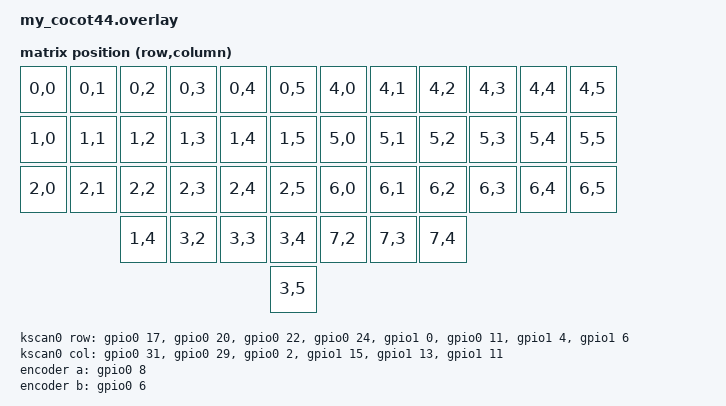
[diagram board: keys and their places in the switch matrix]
#include <dt-bindings/zmk/matrix_transform.h>

/ {
    chosen {
        zmk,kscan = &kscan0;
        zmk,matrix_transform = &default_transform;
    };

    default_transform: key_transform {
        compatible = "zmk,matrix-transform";
        columns = <6>;
        rows = <8>;
        map = <
            RC(0,0) RC(0,1) RC(0,2) RC(0,3) RC(0,4) RC(0,5)    RC(4,0) RC(4,1) RC(4,2) RC(4,3) RC(4,4) RC(4,5)
            RC(1,0) RC(1,1) RC(1,2) RC(1,3) RC(1,4) RC(1,5)    RC(5,0) RC(5,1) RC(5,2) RC(5,3) RC(5,4) RC(5,5)
            RC(2,0) RC(2,1) RC(2,2) RC(2,3) RC(2,4) RC(2,5)    RC(6,0) RC(6,1) RC(6,2) RC(6,3) RC(6,4) RC(6,5)
                            RC(1,4) RC(3,2) RC(3,3) RC(3,4)    RC(7,2) RC(7,3) RC(7,4)
                                                    RC(3,5)
        >;
    };

    kscan0: kscan_0 {
        compatible = "zmk,kscan-gpio-matrix";
        diode-direction = "col2row";
        wakeup-source;

        col-gpios
            = <&gpio0 31 GPIO_ACTIVE_HIGH>
            , <&gpio0 29 GPIO_ACTIVE_HIGH>
            , <&gpio0 2  GPIO_ACTIVE_HIGH>
            , <&gpio1 15 GPIO_ACTIVE_HIGH>
            , <&gpio1 13 GPIO_ACTIVE_HIGH>
            , <&gpio1 11 GPIO_ACTIVE_HIGH>
            ;

        row-gpios
            = <&gpio0 17 (GPIO_ACTIVE_HIGH | GPIO_PULL_DOWN)>
            , <&gpio0 20 (GPIO_ACTIVE_HIGH | GPIO_PULL_DOWN)>
            , <&gpio0 22 (GPIO_ACTIVE_HIGH | GPIO_PULL_DOWN)>
            , <&gpio0 24 (GPIO_ACTIVE_HIGH | GPIO_PULL_DOWN)>
            , <&gpio1 0  (GPIO_ACTIVE_HIGH | GPIO_PULL_DOWN)>
            , <&gpio0 11 (GPIO_ACTIVE_HIGH | GPIO_PULL_DOWN)>
            , <&gpio1 4  (GPIO_ACTIVE_HIGH | GPIO_PULL_DOWN)>
            , <&gpio1 6  (GPIO_ACTIVE_HIGH | GPIO_PULL_DOWN)>
            ;
    };

    encoder: encoder {
        compatible = "alps,ec11";
        a-gpios = <&gpio0 8 (GPIO_ACTIVE_HIGH | GPIO_PULL_UP)>;
        b-gpios = <&gpio0 6 (GPIO_ACTIVE_HIGH | GPIO_PULL_UP)>;
        steps = <80>;
        status = "okay";
    };

    sensors: sensors {
        compatible = "zmk,key-sensors";
        sensors = <&encoder>;
        triggers-per-rotation = <20>;
    };
};
